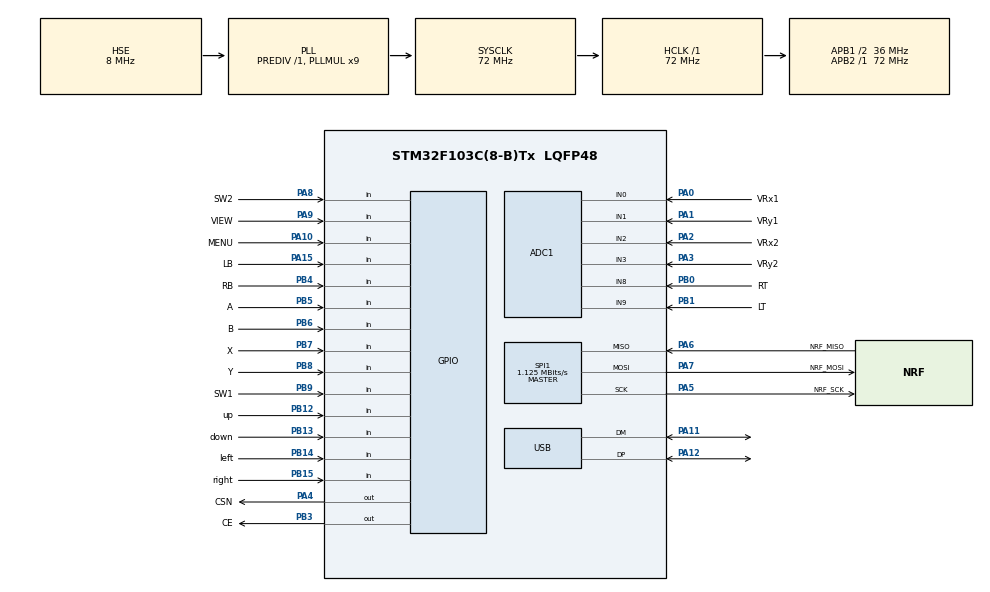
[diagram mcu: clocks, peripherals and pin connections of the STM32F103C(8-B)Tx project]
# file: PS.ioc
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ADC1.Channel-0\#ChannelRegularConversion=ADC_CHANNEL_0
ADC1.Channel-1\#ChannelRegularConversion=ADC_CHANNEL_1
ADC1.Channel-2\#ChannelRegularConversion=ADC_CHANNEL_2
ADC1.Channel-3\#ChannelRegularConversion=ADC_CHANNEL_3
ADC1.Channel-4\#ChannelRegularConversion=ADC_CHANNEL_8
ADC1.Channel-5\#ChannelRegularConversion=ADC_CHANNEL_9
ADC1.ContinuousConvMode=ENABLE
ADC1.NbrOfConversion=6
ADC1.NbrOfConversionFlag=1
ADC1.Rank-0\#ChannelRegularConversion=1
ADC1.Rank-1\#ChannelRegularConversion=2
ADC1.Rank-2\#ChannelRegularConversion=3
ADC1.Rank-3\#ChannelRegularConversion=4
ADC1.Rank-4\#ChannelRegularConversion=5
ADC1.Rank-5\#ChannelRegularConversion=6
ADC1.SamplingTime-0\#ChannelRegularConversion=ADC_SAMPLETIME_239CYCLES_5
ADC1.SamplingTime-1\#ChannelRegularConversion=ADC_SAMPLETIME_239CYCLES_5
ADC1.SamplingTime-2\#ChannelRegularConversion=ADC_SAMPLETIME_239CYCLES_5
ADC1.SamplingTime-3\#ChannelRegularConversion=ADC_SAMPLETIME_239CYCLES_5
ADC1.SamplingTime-4\#ChannelRegularConversion=ADC_SAMPLETIME_239CYCLES_5
ADC1.SamplingTime-5\#ChannelRegularConversion=ADC_SAMPLETIME_239CYCLES_5
ADC1.master=1
Dma.ADC1.0.Direction=DMA_PERIPH_TO_MEMORY
Dma.ADC1.0.Instance=DMA1_Channel1
Dma.ADC1.0.MemDataAlignment=DMA_MDATAALIGN_HALFWORD
Dma.ADC1.0.MemInc=DMA_MINC_ENABLE
Dma.ADC1.0.Mode=DMA_CIRCULAR
Dma.ADC1.0.PeriphDataAlignment=DMA_PDATAALIGN_HALFWORD
Dma.ADC1.0.PeriphInc=DMA_PINC_DISABLE
Dma.ADC1.0.Priority=DMA_PRIORITY_LOW
Dma.Request0=ADC1
FREERTOS.INCLUDE_xSemaphoreGetMutexHolder=1
FREERTOS.INCLUDE_xTaskGetCurrentTaskHandle=1
FREERTOS.Tasks01=defaultTask,24,256,StartDefaultTask,Default,NULL,Dynamic,NULL,NULL
FREERTOS.configTOTAL_HEAP_SIZE=4096
Mcu.Family=STM32F1
Mcu.Name=STM32F103C(8-B)Tx
Mcu.Package=LQFP48
NVIC.DMA1_Channel1_IRQn=true\:5\:0\:false\:false\:true\:true\:false\:true
NVIC.PriorityGroup=NVIC_PRIORITYGROUP_4
NVIC.TIM4_IRQn=true\:0\:0\:false\:false\:true\:false\:false\:true
NVIC.TimeBase=TIM4_IRQn
NVIC.TimeBaseIP=TIM4
NVIC.USB_LP_CAN1_RX0_IRQn=true\:4\:0\:true\:false\:true\:false\:false\:true
PA0-WKUP.GPIO_Label=VRx1
PA0-WKUP.Signal=ADCx_IN0
PA1.GPIO_Label=VRy1
PA1.Signal=ADCx_IN1
PA10.GPIO_Label=MENU
PA10.GPIO_PuPd=GPIO_PULLUP
PA10.Signal=GPIO_Input
PA11.Mode=Device
PA11.Signal=USB_DM
PA12.Mode=Device
PA12.Signal=USB_DP
PA13.Mode=Serial_Wire
PA13.Signal=SYS_JTMS-SWDIO
PA14.Mode=Serial_Wire
PA14.Signal=SYS_JTCK-SWCLK
PA15.GPIO_Label=LB
PA15.GPIO_PuPd=GPIO_PULLUP
PA15.Signal=GPIO_Input
PA2.GPIO_Label=VRx2
PA2.Signal=ADCx_IN2
PA3.GPIO_Label=VRy2
PA3.Signal=ADCx_IN3
PA4.GPIO_Label=CSN
PA4.GPIO_PuPd=GPIO_NOPULL
PA4.PinState=GPIO_PIN_SET
PA4.Signal=GPIO_Output
PA5.GPIO_Label=NRF_SCK
PA5.Mode=Full_Duplex_Master
PA5.Signal=SPI1_SCK
PA6.GPIO_Label=NRF_MISO
PA6.Mode=Full_Duplex_Master
PA6.Signal=SPI1_MISO
PA7.GPIO_Label=NRF_MOSI
PA7.Mode=Full_Duplex_Master
PA7.Signal=SPI1_MOSI
PA8.GPIO_Label=SW2
PA8.GPIO_PuPd=GPIO_PULLUP
PA8.Signal=GPIO_Input
PA9.GPIO_Label=VIEW
PA9.GPIO_PuPd=GPIO_PULLUP
PA9.Signal=GPIO_Input
PB0.GPIO_Label=RT
PB0.Signal=ADCx_IN8
PB1.GPIO_Label=LT
PB1.Signal=ADCx_IN9
PB12.GPIO_Label=up
PB12.GPIO_PuPd=GPIO_PULLUP
PB12.Signal=GPIO_Input
PB13.GPIO_Label=down
PB13.GPIO_PuPd=GPIO_PULLUP
PB13.Signal=GPIO_Input
PB14.GPIO_Label=left
PB14.GPIO_PuPd=GPIO_PULLUP
PB14.Signal=GPIO_Input
PB15.GPIO_Label=right
PB15.GPIO_PuPd=GPIO_PULLUP
PB15.Signal=GPIO_Input
PB3.GPIO_Label=CE
PB3.Signal=GPIO_Output
PB4.GPIO_Label=RB
PB4.GPIO_PuPd=GPIO_PULLUP
PB4.Signal=GPIO_Input
PB5.GPIO_Label=A
PB5.GPIO_PuPd=GPIO_PULLUP
PB5.Signal=GPIO_Input
PB6.GPIO_Label=B
PB6.GPIO_PuPd=GPIO_PULLUP
PB6.Signal=GPIO_Input
PB7.GPIO_Label=X
PB7.GPIO_PuPd=GPIO_PULLUP
PB7.Signal=GPIO_Input
PB8.GPIO_Label=Y
PB8.GPIO_PuPd=GPIO_PULLUP
PB8.Signal=GPIO_Input
PB9.GPIO_Label=SW1
PB9.GPIO_PuPd=GPIO_PULLUP
PB9.Signal=GPIO_Input
PC14-OSC32_IN.Mode=LSE-External-Oscillator
PC14-OSC32_IN.Signal=RCC_OSC32_IN
PC15-OSC32_OUT.Mode=LSE-External-Oscillator
PC15-OSC32_OUT.Signal=RCC_OSC32_OUT
PD0-OSC_IN.Mode=HSE-External-Oscillator
PD0-OSC_IN.Signal=RCC_OSC_IN
PD1-OSC_OUT.Mode=HSE-External-Oscillator
PD1-OSC_OUT.Signal=RCC_OSC_OUT
ProjectManager.HeapSize=0x200
ProjectManager.StackSize=0x400
ProjectManager.TargetToolchain=MDK-ARM V5
RCC.ADCPresc=RCC_ADCPCLK2_DIV6
RCC.AHBFreq_Value=72000000
RCC.APB1CLKDivider=RCC_HCLK_DIV2
RCC.APB1Freq_Value=36000000
RCC.APB1TimFreq_Value=72000000
RCC.APB2Freq_Value=72000000
RCC.APB2TimFreq_Value=72000000
RCC.HCLKFreq_Value=72000000
RCC.PLLMUL=RCC_PLL_MUL9
RCC.PLLSourceVirtual=RCC_PLLSOURCE_HSE
RCC.SYSCLKFreq_VALUE=72000000
RCC.SYSCLKSource=RCC_SYSCLKSOURCE_PLLCLK
RCC.USBFreq_Value=48000000
RCC.USBPrescaler=RCC_USBCLKSOURCE_PLL_DIV1_5
SH.ADCx_IN0.0=ADC1_IN0,IN0
SH.ADCx_IN1.0=ADC1_IN1,IN1
SH.ADCx_IN2.0=ADC1_IN2,IN2
SH.ADCx_IN3.0=ADC1_IN3,IN3
SH.ADCx_IN8.0=ADC1_IN8,IN8
SH.ADCx_IN9.0=ADC1_IN9,IN9
SPI1.BaudRatePrescaler=SPI_BAUDRATEPRESCALER_64
SPI1.CalculateBaudRate=1.125 MBits/s
SPI1.Direction=SPI_DIRECTION_2LINES
SPI1.Mode=SPI_MODE_MASTER
SPI1.VirtualType=VM_MASTER
USB_DEVICE.CLASS_NAME_FS=CUSTOM_HID
USB_DEVICE.VirtualMode=CustomHid
USB_DEVICE.VirtualModeFS=Custom_Hid_FS
VP_FREERTOS_VS_CMSIS_V2.Mode=CMSIS_V2
VP_SYS_VS_tim4.Mode=TIM4
VP_USB_DEVICE_VS_USB_DEVICE_CUSTOM_HID_FS.Mode=CUSTOM_HID_FS
board=custom

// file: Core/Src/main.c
/* USER CODE BEGIN Header */
/**
  ******************************************************************************
  * @file           : main.c
  * @brief          : Main program body
  ******************************************************************************
  * @attention
  *
  * <h2><center>&copy; Copyright (c) 2026 STMicroelectronics.
  * All rights reserved.</center></h2>
  *
  * This software component is licensed by ST under BSD 3-Clause license,
  * the "License"; You may not use this file except in compliance with the
  * License. You may obtain a copy of the License at:
  *                        opensource.org/licenses/BSD-3-Clause
  *
  ******************************************************************************
  */
/* USER CODE END Header */
#include "main.h"
#include "cmsis_os.h"
#include "usb_device.h"

/* USER CODE BEGIN Includes */
/* ↓ 原生 FreeRTOS API（vTaskDelayUntil / TickType_t / pdMS_TO_TICKS）。
          ⚠️ 必须放在 USER CODE 区内：CubeMX 重新生成代码不会丢。 */

#include "FreeRTOS.h"
#include "task.h"
#include "button_front.h"
#include "analog_input.h"
#include "report.h"
#include "latency_probe.h"   /* 可选的延迟测量模块；总开关在它的头文件里 */

#include "nrf24_test.h"
#include "p2p.h"             /* 无线第 4 步：两块板点对点测试 */
#include "proto_test.h"      /* 无线第 5 步：协议测试（帧格式 + 断线判据） */

#include "app.h"             /* 无线第 6 步：应用层总入口
                                ⚠️ 角色开关 DEVICE_ROLE 在 app.h 里（不在这里定义！） */

#include "wdt.h"             /* 第 10 步：双层看门狗（IWDG + WWDG） */

/* ================== 运行模式（四选一，从上到下优先）==================
   APP_MODE = 1        → 第 6 步：应用层（手柄发 / dongle 收 → USB）
   PROTO_TEST_MODE = 1 → 第 5 步：协议测试（proto_test.c）
   P2P_TEST_MODE = 1   → 第 4 步：点对点测试（p2p.c）
   三个都是 0          → 第 3 步：驱动自检（nrf24_test.c）
   ⚠️ 互斥！同时置 1 时按上面顺序取第一个。 */
#define APP_MODE        1
#define PROTO_TEST_MODE 0
#define P2P_TEST_MODE   0
/* USER CODE END Includes */

ADC_HandleTypeDef hadc1;
DMA_HandleTypeDef hdma_adc1;

SPI_HandleTypeDef hspi1;

/* Definitions for defaultTask */
osThreadId_t defaultTaskHandle;
const osThreadAttr_t defaultTask_attributes = {
  .name = "defaultTask",
  .stack_size = 256 * 4,
  .priority = (osPriority_t) osPriorityNormal,
};
/* USER CODE BEGIN PV */
uint16_t adc_buf[6];      /* [0] = PA0 = VRx, [1] = PA1 = VRy */
/* USER CODE END PV */

void SystemClock_Config(void);
static void MX_GPIO_Init(void);
static void MX_DMA_Init(void);
static void MX_ADC1_Init(void);
static void MX_SPI1_Init(void);
void StartDefaultTask(void *argument);

int main(void)
{

  /* MCU Configuration--------------------------------------------------------*/

  /* Reset of all peripherals, Initializes the Flash interface and the Systick. */
  HAL_Init();

  /* Configure the system clock */
  SystemClock_Config();

  /* USER CODE BEGIN SysInit */

  /* 第 10 步：双层看门狗第 1 层（IWDG 1s）。
     放在外设初始化之前 —— 初始化里任何一步卡死，1s 后都会被复位。
     代价：从这一行起 1s 内必须开始喂狗（1ms 任务启动后会喂）。
     复位原因（IWDG / WWDG / POR / 引脚）在这一行被读走并记进 BKP。 */
  wdt_init();

  /* USER CODE END SysInit */

  /* Initialize all configured peripherals */
  MX_GPIO_Init();
  MX_DMA_Init();
  MX_ADC1_Init();
  MX_SPI1_Init();
  /* USER CODE BEGIN 2 */
		/* ADC 自校准：消除内部电容失配造成的偏移误差。
	   必须在 HAL_ADC_Start / Start_DMA 之前调用一次。
	   不校准时，不同芯片的偏移能差几十 LSB —— 这正是 STM32 与 GD32 上
	   静置中心对不上的原因（1984~2019 vs 2060~2088）。 */
	if (HAL_ADCEx_Calibration_Start(&hadc1) != HAL_OK)
	{
		Error_Handler();
	}

	HAL_ADC_Start_DMA(&hadc1, (uint32_t *)adc_buf, 6);

	/* 打开延迟测量装置（打点脚 PB10 + DWT 周期计数器）。
	   整套实现在 latency_probe.c 里，总开关在它的头文件；
	   关掉开关时这一行会退化成空操作，一行机器码都不占。 */
	LatencyProbe_Init();
#if APP_MODE
	app_init();          /* 第 6 步：应用层（手柄建无线任务 / dongle 进接收模式） */
#elif PROTO_TEST_MODE
	proto_test_init();   /* 第 5 步：协议测试 */
#elif P2P_TEST_MODE
	p2p_init();          /* 第 4 步：点对点测试 */
#else
	nrf24_test_init();   /* 第 3 步：驱动自检（配 SPI1 + CSN/CE） */
#endif
  /* USER CODE END 2 */

  /* Init scheduler */
  osKernelInitialize();

  /* Create the thread(s) */
  /* creation of defaultTask */
  defaultTaskHandle = osThreadNew(StartDefaultTask, NULL, &defaultTask_attributes);

  /* Start scheduler */
  osKernelStart();

  /* We should never get here as control is now taken by the scheduler */
  /* Infinite loop */
  while (1)
  {

  }
}

void SystemClock_Config(void)
{
  RCC_OscInitTypeDef RCC_OscInitStruct = {0};
  RCC_ClkInitTypeDef RCC_ClkInitStruct = {0};
  RCC_PeriphCLKInitTypeDef PeriphClkInit = {0};

  /** Initializes the RCC Oscillators according to the specified parameters
  * in the RCC_OscInitTypeDef structure.
  */
  RCC_OscInitStruct.OscillatorType = RCC_OSCILLATORTYPE_HSE;
  RCC_OscInitStruct.HSEState = RCC_HSE_ON;
  RCC_OscInitStruct.HSEPredivValue = RCC_HSE_PREDIV_DIV1;
  RCC_OscInitStruct.HSIState = RCC_HSI_ON;
  RCC_OscInitStruct.PLL.PLLState = RCC_PLL_ON;
  RCC_OscInitStruct.PLL.PLLSource = RCC_PLLSOURCE_HSE;
  RCC_OscInitStruct.PLL.PLLMUL = RCC_PLL_MUL9;
  if (HAL_RCC_OscConfig(&RCC_OscInitStruct) != HAL_OK)
  {
    Error_Handler();
  }
  /** Initializes the CPU, AHB and APB buses clocks
  */
  RCC_ClkInitStruct.ClockType = RCC_CLOCKTYPE_HCLK|RCC_CLOCKTYPE_SYSCLK
                              |RCC_CLOCKTYPE_PCLK1|RCC_CLOCKTYPE_PCLK2;
  RCC_ClkInitStruct.SYSCLKSource = RCC_SYSCLKSOURCE_PLLCLK;
  RCC_ClkInitStruct.AHBCLKDivider = RCC_SYSCLK_DIV1;
  RCC_ClkInitStruct.APB1CLKDivider = RCC_HCLK_DIV2;
  RCC_ClkInitStruct.APB2CLKDivider = RCC_HCLK_DIV1;

  if (HAL_RCC_ClockConfig(&RCC_ClkInitStruct, FLASH_LATENCY_2) != HAL_OK)
  {
    Error_Handler();
  }
  PeriphClkInit.PeriphClockSelection = RCC_PERIPHCLK_ADC|RCC_PERIPHCLK_USB;
  PeriphClkInit.AdcClockSelection = RCC_ADCPCLK2_DIV6;
  PeriphClkInit.UsbClockSelection = RCC_USBCLKSOURCE_PLL_DIV1_5;
  if (HAL_RCCEx_PeriphCLKConfig(&PeriphClkInit) != HAL_OK)
  {
    Error_Handler();
  }
}

static void MX_ADC1_Init(void)
{

  ADC_ChannelConfTypeDef sConfig = {0};

  /** Common config
  */
  hadc1.Instance = ADC1;
  hadc1.Init.ScanConvMode = ADC_SCAN_ENABLE;
  hadc1.Init.ContinuousConvMode = ENABLE;
  hadc1.Init.DiscontinuousConvMode = DISABLE;
  hadc1.Init.ExternalTrigConv = ADC_SOFTWARE_START;
  hadc1.Init.DataAlign = ADC_DATAALIGN_RIGHT;
  hadc1.Init.NbrOfConversion = 6;
  if (HAL_ADC_Init(&hadc1) != HAL_OK)
  {
    Error_Handler();
  }
  /** Configure Regular Channel
  */
  sConfig.Channel = ADC_CHANNEL_0;
  sConfig.Rank = ADC_REGULAR_RANK_1;
  sConfig.SamplingTime = ADC_SAMPLETIME_239CYCLES_5;
  if (HAL_ADC_ConfigChannel(&hadc1, &sConfig) != HAL_OK)
  {
    Error_Handler();
  }
  /** Configure Regular Channel
  */
  sConfig.Channel = ADC_CHANNEL_1;
  sConfig.Rank = ADC_REGULAR_RANK_2;
  if (HAL_ADC_ConfigChannel(&hadc1, &sConfig) != HAL_OK)
  {
    Error_Handler();
  }
  /** Configure Regular Channel
  */
  sConfig.Channel = ADC_CHANNEL_2;
  sConfig.Rank = ADC_REGULAR_RANK_3;
  if (HAL_ADC_ConfigChannel(&hadc1, &sConfig) != HAL_OK)
  {
    Error_Handler();
  }
  /** Configure Regular Channel
  */
  sConfig.Channel = ADC_CHANNEL_3;
  sConfig.Rank = ADC_REGULAR_RANK_4;
  if (HAL_ADC_ConfigChannel(&hadc1, &sConfig) != HAL_OK)
  {
    Error_Handler();
  }
  /** Configure Regular Channel
  */
  sConfig.Channel = ADC_CHANNEL_8;
  sConfig.Rank = ADC_REGULAR_RANK_5;
  if (HAL_ADC_ConfigChannel(&hadc1, &sConfig) != HAL_OK)
  {
    Error_Handler();
  }
  /** Configure Regular Channel
  */
  sConfig.Channel = ADC_CHANNEL_9;
  sConfig.Rank = ADC_REGULAR_RANK_6;
  if (HAL_ADC_ConfigChannel(&hadc1, &sConfig) != HAL_OK)
  {
    Error_Handler();
  }

}

static void MX_SPI1_Init(void)
{

  /* SPI1 parameter configuration*/
  hspi1.Instance = SPI1;
  hspi1.Init.Mode = SPI_MODE_MASTER;
  hspi1.Init.Direction = SPI_DIRECTION_2LINES;
  hspi1.Init.DataSize = SPI_DATASIZE_8BIT;
  hspi1.Init.CLKPolarity = SPI_POLARITY_LOW;
  hspi1.Init.CLKPhase = SPI_PHASE_1EDGE;
  hspi1.Init.NSS = SPI_NSS_SOFT;
  hspi1.Init.BaudRatePrescaler = SPI_BAUDRATEPRESCALER_64;
  hspi1.Init.FirstBit = SPI_FIRSTBIT_MSB;
  hspi1.Init.TIMode = SPI_TIMODE_DISABLE;
  hspi1.Init.CRCCalculation = SPI_CRCCALCULATION_DISABLE;
  hspi1.Init.CRCPolynomial = 10;
  if (HAL_SPI_Init(&hspi1) != HAL_OK)
  {
    Error_Handler();
  }

}

static void MX_DMA_Init(void)
{

  /* DMA controller clock enable */
  __HAL_RCC_DMA1_CLK_ENABLE();

  /* DMA interrupt init */
  /* DMA1_Channel1_IRQn interrupt configuration */
  HAL_NVIC_SetPriority(DMA1_Channel1_IRQn, 5, 0);
  HAL_NVIC_EnableIRQ(DMA1_Channel1_IRQn);

}

static void MX_GPIO_Init(void)
{
  GPIO_InitTypeDef GPIO_InitStruct = {0};

  /* GPIO Ports Clock Enable */
  __HAL_RCC_GPIOC_CLK_ENABLE();
  __HAL_RCC_GPIOD_CLK_ENABLE();
  __HAL_RCC_GPIOA_CLK_ENABLE();
  __HAL_RCC_GPIOB_CLK_ENABLE();

  /*Configure GPIO pin Output Level */
  HAL_GPIO_WritePin(CSN_GPIO_Port, CSN_Pin, GPIO_PIN_SET);

  /*Configure GPIO pin Output Level */
  HAL_GPIO_WritePin(CE_GPIO_Port, CE_Pin, GPIO_PIN_RESET);

  /*Configure GPIO pin : CSN_Pin */
  GPIO_InitStruct.Pin = CSN_Pin;
  GPIO_InitStruct.Mode = GPIO_MODE_OUTPUT_PP;
  GPIO_InitStruct.Pull = GPIO_NOPULL;
  GPIO_InitStruct.Speed = GPIO_SPEED_FREQ_LOW;
  HAL_GPIO_Init(CSN_GPIO_Port, &GPIO_InitStruct);

  /*Configure GPIO pins : up_Pin down_Pin left_Pin right_Pin
                           RB_Pin A_Pin B_Pin X_Pin Y_Pin
                           SW1_Pin */
  GPIO_InitStruct.Pin = up_Pin|down_Pin|left_Pin|right_Pin
                          |RB_Pin|A_Pin|B_Pin|X_Pin|Y_Pin
                          |SW1_Pin;
  GPIO_InitStruct.Mode = GPIO_MODE_INPUT;
  GPIO_InitStruct.Pull = GPIO_PULLUP;
  HAL_GPIO_Init(GPIOB, &GPIO_InitStruct);

  /*Configure GPIO pins : SW2_Pin VIEW_Pin MENU_Pin LB_Pin */
  GPIO_InitStruct.Pin = SW2_Pin|VIEW_Pin|MENU_Pin|LB_Pin;
  GPIO_InitStruct.Mode = GPIO_MODE_INPUT;
  GPIO_InitStruct.Pull = GPIO_PULLUP;
  HAL_GPIO_Init(GPIOA, &GPIO_InitStruct);

  /*Configure GPIO pin : CE_Pin */
  GPIO_InitStruct.Pin = CE_Pin;
  GPIO_InitStruct.Mode = GPIO_MODE_OUTPUT_PP;
  GPIO_InitStruct.Pull = GPIO_NOPULL;
  GPIO_InitStruct.Speed = GPIO_SPEED_FREQ_LOW;
  HAL_GPIO_Init(CE_GPIO_Port, &GPIO_InitStruct);

}

void StartDefaultTask(void *argument)
{
  /* init code for USB_DEVICE */
  MX_USB_DEVICE_Init();
  /* USER CODE BEGIN 5 */
  /* 第 10 步：WWDG 必须在 USB 初始化【之后】开 ——
     MX_USB_DEVICE_Init 可能花几十 ms，早开会被 58ms 超时误复位。 */
  wdt_wwdg_start();
  wdt_task_arm(WDT_TASK_INPUT);   /* 本任务已进入主循环，开始参与心跳检查 */
  /* 1ms 周期任务：原来 main() 主循环里的四件事搬到这里。
        ⚠️ 必须用 vTaskDelayUntil（绝对周期），不能用 vTaskDelay / osDelay（相对延迟）——
              后者会把本任务的执行时间累积成周期抖动，直接毁掉延迟指标。
        四件事的顺序不能变：扫描 → 映射 → 打点 → 上报。 */
  TickType_t last = xTaskGetTickCount();
  for(;;)
  {
#if APP_MODE
    /* 第 6 步：应用层自己按角色做 —— 手柄 = 扫描+映射+USB+塞队列；dongle = 收包+USB
       ⚠️ 这里绝对不能再调 scan_buttons / analog_update / send_report！
          否则 dongle 端会用【悬空的按键和 ADC】覆盖无线收到的数据 —— 2026-10-21 踩坑：
          joy.cpl 轴乱跳、gamepad_report[0] 永远 0，就是这么来的。 */
    app_tick();
#else
    scan_buttons();          /* read GPIOs and debounce                 */
    analog_update();         /* read ADC, fill X/Y axes                 */
    LatencyProbe_OnTick();   /* 延迟测量：输入有变化就打点 + 计时 */
    send_report();           /* skip this tick if the previous transfer */
  #if PROTO_TEST_MODE
    proto_test_poll();       /* 第 5 步：接收端轮询收包（发送端空操作） */
  #elif P2P_TEST_MODE
    p2p_poll();              /* 第 4 步：接收端轮询收包（发送端空操作） */
  #else
		nrf24_test_poll();        /* 第 3 步：100ms 读一次 nRF24 STATUS */
  #endif
#endif

    /* 第 10 步：1ms 循环末尾 —— 先报“本任务还活着”，
       再让监督逻辑检查其他任务的心跳、按条件喂 IWDG、按节拍喂 WWDG。
       ⚠️ 必须放在本轮活全干完之后：放开头等于没检查。 */
    wdt_heartbeat(WDT_TASK_INPUT);
    wdt_loop_hook();

    vTaskDelayUntil(&last, pdMS_TO_TICKS(1));
  }
  /* USER CODE END 5 */
}

 /**
  * @brief  Period elapsed callback in non blocking mode
  * @note   This function is called  when TIM4 interrupt took place, inside
  * HAL_TIM_IRQHandler(). It makes a direct call to HAL_IncTick() to increment
  * a global variable "uwTick" used as application time base.
  * @param  htim : TIM handle
  * @retval None
  */
void HAL_TIM_PeriodElapsedCallback(TIM_HandleTypeDef *htim)
{
  if (htim->Instance == TIM4) {
    HAL_IncTick();
  }
}

void Error_Handler(void)
{
  __disable_irq();
  while (1)
  {
  }
}

/************************ (C) COPYRIGHT STMicroelectronics *****END OF FILE****/
